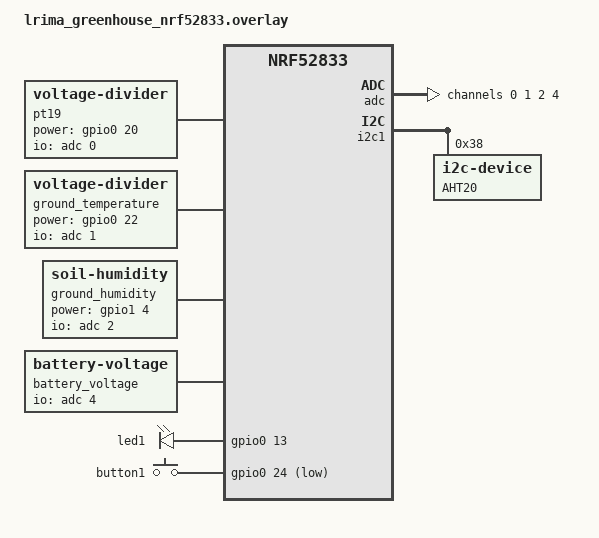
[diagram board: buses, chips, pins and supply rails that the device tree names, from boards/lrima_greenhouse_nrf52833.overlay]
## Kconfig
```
################################################################################
# Zephyr OS

source "Kconfig.zephyr"

################################################################################

config SENSOR_SLEEP_DURATION_SEC
	int "Sleep duration in seconds bettwen two measurements"
	default 300

config BLE_ADV_DURATION_SEC
	int "Advertising duration in seconds"
	default 1

config BLE_MIN_ADV_INTERVAL_MS
	int "Minimum advertising interval in milliseconds"
	default 30

config BLE_MAX_ADV_INTERVAL_MS
	int "Maximum advertising interval in milliseconds"
	default 40

config BLE_USER_DEFINED_MAC_ADDR
	string "Overrides the device's BT address"
	help
		This address has to be in this format (e.g.: f0:ca:f0:ca:01:d5).
################################################################################
# Main module

menu "Main module"

########################################
# MAIN Logging

choice MAIN_LOG_LEVEL_CHOICE
    prompt "Log level"
    depends on LOG
    default MAIN_LOG_LEVEL_INF
    help
        Message severity threshold for logging. This option controls which
        severities of messages are displayed and which ones are suppressed.
        Messages can have 4 severity levels - debug, info, warning, and error -
        in that order of increasing severity. Messages below the configured
        severity threshold are suppressed.

config MAIN_LOG_LEVEL_OFF
    bool "Off"
    help
        Do not log messages. No messages are displayed. Messages of all severity
        levels are suppressed.

config MAIN_LOG_LEVEL_ERR
    bool "Error"
    help
        Log up to error messages. Error messages are displayed. Warning, info,
        and debug messages are suppressed.

config MAIN_LOG_LEVEL_WRN
    bool "Warning"
    help
        Log up to warning messages. Error and warning messages are displayed.
        Info and debug messages are suppressed.

config MAIN_LOG_LEVEL_INF
    bool "Info"
    help
        Log up to info messages. Error, warning, and info messages are
        displayed. Debug messages are suppressed.

config MAIN_LOG_LEVEL_DBG
    bool "Debug"
    help
        Log up to debug messages. Messages of all severity levels are displayed.
        No messages are suppressed.

endchoice

config MAIN_LOG_LEVEL
    int
    depends on LOG
    default 0 if MAIN_LOG_LEVEL_OFF
    default 1 if MAIN_LOG_LEVEL_ERR
    default 2 if MAIN_LOG_LEVEL_WRN
    default 3 if MAIN_LOG_LEVEL_INF
    default 4 if MAIN_LOG_LEVEL_DBG

endmenu

################################################################################
# AHT20 module

menu "AHT20 module"

########################################
# AHT20 Logging

choice AHT20_LOG_LEVEL_CHOICE
    prompt "Log level"
    depends on LOG
    default AHT20_LOG_LEVEL_INF
    help
        Message severity threshold for logging. This option controls which
        severities of messages are displayed and which ones are suppressed.
        Messages can have 4 severity levels - debug, info, warning, and error -
        in that order of increasing severity. Messages below the configured
        severity threshold are suppressed.

config AHT20_LOG_LEVEL_OFF
    bool "Off"
    help
        Do not log messages. No messages are displayed. Messages of all severity
        levels are suppressed.

config AHT20_LOG_LEVEL_ERR
    bool "Error"
    help
        Log up to error messages. Error messages are displayed. Warning, info,
        and debug messages are suppressed.

config AHT20_LOG_LEVEL_WRN
    bool "Warning"
    help
        Log up to warning messages. Error and warning messages are displayed.
        Info and debug messages are suppressed.

config AHT20_LOG_LEVEL_INF
    bool "Info"
    help
        Log up to info messages. Error, warning, and info messages are
        displayed. Debug messages are suppressed.

config AHT20_LOG_LEVEL_DBG
    bool "Debug"
    help
        Log up to debug messages. Messages of all severity levels are displayed.
        No messages are suppressed.

endchoice

config AHT20_LOG_LEVEL
    int
    depends on LOG
    default 0 if AHT20_LOG_LEVEL_OFF
    default 1 if AHT20_LOG_LEVEL_ERR
    default 2 if AHT20_LOG_LEVEL_WRN
    default 3 if AHT20_LOG_LEVEL_INF
    default 4 if AHT20_LOG_LEVEL_DBG

endmenu

################################################################################
# ADC module

menu "ADC module"

########################################
# ADC Logging

choice ADC_LOG_LEVEL_CHOICE
    prompt "Log level"
    depends on LOG
    default ADC_LOG_LEVEL_INF
    help
        Message severity threshold for logging. This option controls which
        severities of messages are displayed and which ones are suppressed.
        Messages can have 4 severity levels - debug, info, warning, and error -
        in that order of increasing severity. Messages below the configured
        severity threshold are suppressed.

config ADC_LOG_LEVEL_OFF
    bool "Off"
    help
        Do not log messages. No messages are displayed. Messages of all severity
        levels are suppressed.

config ADC_LOG_LEVEL_ERR
    bool "Error"
    help
        Log up to error messages. Error messages are displayed. Warning, info,
        and debug messages are suppressed.

config ADC_LOG_LEVEL_WRN
    bool "Warning"
    help
        Log up to warning messages. Error and warning messages are displayed.
        Info and debug messages are suppressed.

config ADC_LOG_LEVEL_INF
    bool "Info"
    help
        Log up to info messages. Error, warning, and info messages are
        displayed. Debug messages are suppressed.

config ADC_LOG_LEVEL_DBG
    bool "Debug"
    help
        Log up to debug messages. Messages of all severity levels are displayed.
        No messages are suppressed.

endchoice

config ADC_LOG_LEVEL
    int
    depends on LOG
    default 0 if ADC_LOG_LEVEL_OFF
    default 1 if ADC_LOG_LEVEL_ERR
    default 2 if ADC_LOG_LEVEL_WRN
    default 3 if ADC_LOG_LEVEL_INF
    default 4 if ADC_LOG_LEVEL_DBG

endmenu

################################################################################
# BLE_DRIVER module

menu "BLE_DRIVER module"

########################################
# BLE_DRIVER Logging

choice BLE_DRIVER_LOG_LEVEL_CHOICE
    prompt "Log level"
    depends on LOG
    default BLE_DRIVER_LOG_LEVEL_INF
    help
        Message severity threshold for logging. This option controls which
        severities of messages are displayed and which ones are suppressed.
        Messages can have 4 severity levels - debug, info, warning, and error -
        in that order of increasing severity. Messages below the configured
        severity threshold are suppressed.

config BLE_DRIVER_LOG_LEVEL_OFF
    bool "Off"
    help
        Do not log messages. No messages are displayed. Messages of all severity
        levels are suppressed.

config BLE_DRIVER_LOG_LEVEL_ERR
    bool "Error"
    help
        Log up to error messages. Error messages are displayed. Warning, info,
        and debug messages are suppressed.

config BLE_DRIVER_LOG_LEVEL_WRN
    bool "Warning"
    help
        Log up to warning messages. Error and warning messages are displayed.
        Info and debug messages are suppressed.

config BLE_DRIVER_LOG_LEVEL_INF
    bool "Info"
    help
        Log up to info messages. Error, warning, and info messages are
        displayed. Debug messages are suppressed.

config BLE_DRIVER_LOG_LEVEL_DBG
    bool "Debug"
    help
        Log up to debug messages. Messages of all severity levels are displayed.
        No messages are suppressed.

endchoice

config BLE_DRIVER_LOG_LEVEL
    int
    depends on LOG
    default 0 if BLE_DRIVER_LOG_LEVEL_OFF
    default 1 if BLE_DRIVER_LOG_LEVEL_ERR
    default 2 if BLE_DRIVER_LOG_LEVEL_WRN
    default 3 if BLE_DRIVER_LOG_LEVEL_INF
    default 4 if BLE_DRIVER_LOG_LEVEL_DBG

endmenu

################################################################################
```

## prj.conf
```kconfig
# Enable ADC support #
CONFIG_ADC=y
CONFIG_ADC_ASYNC=y

# Enable GPIO support #
CONFIG_GPIO=y

# Enable i2c support #
CONFIG_I2C=y

# Enable support for log
CONFIG_NEWLIB_LIBC=y # TODO : optimize this

#BLE config
CONFIG_BT=y
CONFIG_BT_EXT_ADV=y
CONFIG_BT_BROADCASTER=y
CONFIG_BT_DEVICE_NAME="LRIMa test 1" #Change this for each device

# Low power config
CONFIG_PM=y
CONFIG_PM_DEVICE=y
CONFIG_PM_DEVICE_RUNTIME=y

#Custom configs
CONFIG_SENSOR_SLEEP_DURATION_SEC=600
CONFIG_BLE_ADV_DURATION_SEC=1
CONFIG_BLE_MIN_ADV_INTERVAL_MS=30
CONFIG_BLE_MAX_ADV_INTERVAL_MS=40
CONFIG_BLE_USER_DEFINED_MAC_ADDR="f0:ca:f0:ca:01:d5" #Change this for each device 

# Enable logging support #
CONFIG_LOG=y
CONFIG_LOG_DEFAULT_LEVEL=1
CONFIG_DEBUG_OPTIMIZATIONS=y
CONFIG_LOG_PRINTK=y
CONFIG_AHT20_LOG_LEVEL_ERR=y
CONFIG_ADC_LOG_LEVEL_ERR=y
# CONFIG_BLE_DRIVER_LOG_LEVEL_ERR=y
CONFIG_BLE_DRIVER_LOG_LEVEL_INF=y
CONFIG_BT_LOG_LEVEL_OFF=y
CONFIG_BT_DEBUG_LOG=n
```

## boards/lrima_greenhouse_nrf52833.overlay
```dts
/* Mapping adc pins */
/ {

    pt19: pt19 {
        compatible = "voltage-divider";
        io-channels = <&adc 0>;
        output-ohms = < 10000 >;
        power-gpios = < &gpio0 20 GPIO_ACTIVE_HIGH>;
    };

    ground_temperature: ground_temperature {
        compatible = "voltage-divider";
        io-channels = <&adc 1>;
        output-ohms = < 10000 >;
        power-gpios = < &gpio0 22 GPIO_ACTIVE_HIGH >;
    };

    ground_humidity: ground_humidity {
        compatible = "soil-humidity";
        io-channels = <&adc 2>;
        power-gpios = < &gpio1 4 GPIO_ACTIVE_HIGH >;
        dry = < 800 0 0 >;
        wet = < 2270 0 0 >;
    };

    battery_voltage: battery_voltage {
        compatible = "battery-voltage";
        io-channels = <&adc 4>;
    };

    /* Used for the real board */
    leds{
        compatible = "gpio-leds";
        led1: led1 {
            label = "led1";
            gpios = <&gpio0 13 GPIO_ACTIVE_HIGH>;
        };
    };

    buttons {
        compatible = "gpio-keys";
        button1: button1 {
            label = "button1";
            gpios = <&gpio0 24 GPIO_ACTIVE_LOW>;
        };

        wakeup-source;
    };

    aliases {
        button1 = &button1;
        led1 = &led1;
    };
};

/* Enable adc driver */
&adc {
    status = "okay";
    #address-cells = <1>;
    #size-cells = <0>;
    // Luminoisty sensor
    channel@0 {
        reg = <0>;
        zephyr,gain = "ADC_GAIN_1_4";
        zephyr,reference = "ADC_REF_INTERNAL";
        zephyr,acquisition-time = <ADC_ACQ_TIME_DEFAULT>;
        zephyr,input-positive = < NRF_SAADC_AIN0 >; // P0.02
        zephyr,resolution = <10>;
        zephyr,oversampling = < 4 >;
    };

    // Ground temperature sensor
    channel@1 {
        reg = <1>;
        zephyr,gain = "ADC_GAIN_1_5";
        zephyr,reference = "ADC_REF_INTERNAL";
        zephyr,acquisition-time = <ADC_ACQ_TIME_DEFAULT>;
        zephyr,input-positive = < NRF_SAADC_AIN1 >; // P0.03
        zephyr,resolution = <10>;
        zephyr,oversampling = < 4 >;
    };

    // Ground humidity sensor
    channel@2 {
        reg = <2>;
        zephyr,gain = "ADC_GAIN_1_2";
        zephyr,reference = "ADC_REF_INTERNAL";
        zephyr,acquisition-time = <ADC_ACQ_TIME_DEFAULT>;
        zephyr,input-positive = < NRF_SAADC_AIN2 >; // P0.04
        zephyr,resolution = <12>;
        zephyr,oversampling = < 4 >;
    };

    // Batterie voltage monitor
    channel@4 {
        reg = <4>;
        zephyr,gain = "ADC_GAIN_1_6";
        zephyr,reference = "ADC_REF_INTERNAL";
        zephyr,acquisition-time = <ADC_ACQ_TIME_DEFAULT>;
        zephyr,input-positive = < NRF_SAADC_VDD >; // VDD
        zephyr,resolution = <10>;
        zephyr,oversampling = <0>;
    };
};

/* Enable i2c driver */
&i2c1 {
    status = "okay";

    aht20: aht20@38{
        compatible = "i2c-device";
        reg = <0x38>;
        label = "AHT20";
    };
};
```

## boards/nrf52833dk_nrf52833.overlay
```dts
/* Mapping adc pins */
/ {

    pt19: pt19 {
        compatible = "voltage-divider";
        io-channels = <&adc 0>;
        output-ohms = < 10000 >;
        power-gpios = < &gpio0 20 GPIO_ACTIVE_HIGH>;
    };

    ground_temperature: ground_temperature {
        compatible = "voltage-divider";
        io-channels = <&adc 1>;
        output-ohms = < 10000 >;
        power-gpios = < &gpio0 22 GPIO_ACTIVE_HIGH >;
    };

    ground_humidity: ground_humidity {
        compatible = "soil-humidity";
        io-channels = <&adc 2>;
        power-gpios = < &gpio1 4 GPIO_ACTIVE_HIGH >;
        dry = < 800 0 0 >;
        wet = < 2270 0 0 >;
    };

    battery_voltage: battery_voltage {
        compatible = "battery-voltage";
        io-channels = <&adc 4>;
    };

    /* Used for the real board */
    // leds{
    //     compatible = "gpio-leds";
    //     led1: led1 {
    //         label = "led1";
    //         gpios = <&gpio0 13 GPIO_ACTIVE_HIGH>;
    //     };
    // };

    // buttons {
    //     compatible = "gpio-keys";
    //     button1: button1 {
    //         label = "button1";
    //         gpios = <&gpio0 24 GPIO_ACTIVE_LOW>;
    //     };
    // };

    // aliases {
    //     button1 = &button1;
    //     led1 = &led1;
    // };
};

/* Enable adc driver */
&adc {
    status = "okay";
    #address-cells = <1>;
    #size-cells = <0>;
    // Luminoisty sensor
    channel@0 {
        reg = <0>;
        zephyr,gain = "ADC_GAIN_1_4";
        zephyr,reference = "ADC_REF_INTERNAL";
        zephyr,acquisition-time = <ADC_ACQ_TIME_DEFAULT>;
        zephyr,input-positive = < NRF_SAADC_AIN0 >; // P0.02
        zephyr,resolution = <10>;
        zephyr,oversampling = < 4 >;
    };

    // Ground temperature sensor
    channel@1 {
        reg = <1>;
        zephyr,gain = "ADC_GAIN_1_5";
        zephyr,reference = "ADC_REF_INTERNAL";
        zephyr,acquisition-time = <ADC_ACQ_TIME_DEFAULT>;
        zephyr,input-positive = < NRF_SAADC_AIN1 >; // P0.03
        zephyr,resolution = <10>;
        zephyr,oversampling = < 4 >;
    };

    // Ground humidity sensor
    channel@2 {
        reg = <2>;
        zephyr,gain = "ADC_GAIN_1_2";
        zephyr,reference = "ADC_REF_INTERNAL";
        zephyr,acquisition-time = <ADC_ACQ_TIME_DEFAULT>;
        zephyr,input-positive = < NRF_SAADC_AIN2 >; // P0.04
        zephyr,resolution = <12>;
        zephyr,oversampling = < 4 >;
    };

    // Batterie voltage monitor
    channel@4 {
        reg = <4>;
        zephyr,gain = "ADC_GAIN_1_6";
        zephyr,reference = "ADC_REF_INTERNAL";
        zephyr,acquisition-time = <ADC_ACQ_TIME_DEFAULT>;
        zephyr,input-positive = < NRF_SAADC_VDD >; // VDD
        zephyr,resolution = <10>;
        zephyr,oversampling = <0>;
    };
};

/* Enable i2c driver */
&i2c1 {
    status = "okay";

    aht20: aht20@38{
        compatible = "i2c-device";
        reg = <0x38>;
        label = "AHT20";
    };
};

/* Deactivating some stuff */

&spi1 {
    status = "disabled";
};

&spi3 {
    status = "disabled";
};
```

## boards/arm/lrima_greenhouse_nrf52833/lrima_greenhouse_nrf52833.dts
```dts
// Copyright (c) 2023 Nordic Semiconductor ASA
// SPDX-License-Identifier: Apache-2.0

/dts-v1/;
#include <nordic/nrf52833_qiaa.dtsi>
#include "lrima_greenhouse_nrf52833-pinctrl.dtsi"

/ {
	model = "LRIMa_greenhouse_nrf52833";
	compatible = "lrima,lrima-greenhouse-nrf52833";

	chosen {
		zephyr,sram = &sram0;
		zephyr,flash = &flash0;
		zephyr,code-partition = &slot0_partition;
		zephyr,console = &uart0;
		zephyr,shell-uart = &uart0;
	};
};

&flash0 {
	partitions {
		compatible = "fixed-partitions";
		#address-cells = <1>;
		#size-cells = <1>;

		boot_partition: partition@0 {
			label = "mcuboot";
			reg = <0x0 0xc000>;
		};
		slot0_partition: partition@c000 {
			label = "image-0";
			reg = <0xc000 0x32000>;
		};
		slot1_partition: partition@3e000 {
			label = "image-1";
			reg = <0x3e000 0x32000>;
		};
		scratch_partition: partition@70000 {
			label = "image-scratch";
			reg = <0x70000 0xa000>;
		};
		storage_partition: partition@7a000 {
			label = "storage";
			reg = <0x7a000 0x6000>;
		};
	};
};

&uart0 {
	compatible = "nordic,nrf-uarte";
	status = "okay";
	current-speed = <115200>;
	pinctrl-0 = <&uart0_default>;
	pinctrl-1 = <&uart0_sleep>;
	pinctrl-names = "default", "sleep";
};

&adc {
	status = "okay";
};

&i2c1 {
	compatible = "nordic,nrf-twi";
	/* Cannot be used together with spi1. */
	pinctrl-0 = <&i2c1_default>;
	pinctrl-1 = <&i2c1_sleep>;
	pinctrl-names = "default", "sleep";
	status = "okay";
};

&gpio0 {
	status = "okay";
	// For low-power EDGE interrupts.
	// See github.com/zephyrproject-rtos/zephyr/issues/28499.
	sense-edge-mask = <0xffffffff>;
};

&gpio1 {
    status = "okay";
};
```

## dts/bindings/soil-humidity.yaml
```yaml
description: >
  Soil humidity sensor definition. 
  Taking the adc pin and the drys and wet values. acording to the current batterie voltage
    io-channels: Adc pin of the sensor
    dry: Value of the sensor when is dry
    wet: Value of the sensor when is wet

compatible: soil-humidity

include: base.yaml

properties:
  io-channels:
    required: true
    description: Channels of the adc pin of the sensor
  power-gpios:
      type: phandle-array
      description: |
        Control power to the sensor inputs.

        If present the corresponding GPIO must be set to an active level
        to enable the divider input.
  dry:
    type: array
    required: true
    description: The value of the sensor when is dry
  wet:
    type: array
    required: true
    description: The value of the sensor when is wet
```

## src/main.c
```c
/* main.c - Application main entry point */

/*
 * Copyright (c) 2015-2016 Intel Corporation
 *
 * SPDX-License-Identifier: Apache-2.0
 */

#include <zephyr/kernel.h>
#include <zephyr/logging/log.h>
#include "drivers/adc.h"
#include "drivers/aht20.h"
#include "drivers/ble.h"
#include "utils.h"

LOG_MODULE_REGISTER(MAIN, CONFIG_MAIN_LOG_LEVEL);

sensors_data_t sensors_data = {
	.temp = 0,
	.hum = 0,
	.lum = 0,
	.gnd_temp = 0,
	.gnd_hum = 0,
	.bat = 0
};

bool first_run = true;

/**
 * @brief Read the sensors data
 */
static void read(void) {
		// Read the temperature and humidity
		RET_IF_ERR(aht20_read(&sensors_data.temp, &sensors_data.hum), "Unable to read temperature and humidity");
		// Read the luminosity
		RET_IF_ERR(luminosity_read(&sensors_data.lum), "Unable to read luminosity");
		// Read the ground temperature
		RET_IF_ERR(ground_temperature_read(&sensors_data.gnd_temp), "Unable to read ground temperature");
		// Read the ground humidity
		RET_IF_ERR(ground_humidity_read(&sensors_data.gnd_hum), "Unable to read ground humidity");
		// Read the battery level
		RET_IF_ERR(battery_voltage_read(&sensors_data.bat), "Unable to read battery level");
}

/**
 * @brief Send the sensors data
 */
static void send(void) {
	// Encode the data into the service data
	RET_IF_ERR(ble_encode_adv_data(&sensors_data), "Unable to encode data");

	// Advertise the data
	RET_IF_ERR(ble_adv(), "Unable to advertise data");
}

/**
 * @brief Main function
 */
void main(void) {
	LOG_INF("Starting application");

	// Initialize the ADC driver
	RET_IF_ERR(adc_init(), "Unable to initialize ADC");
	// Initialize the AHT20 driver
	RET_IF_ERR(aht20_init(), "Unable to initialize AHT20");
	// Initialize the BLE driver
	RET_IF_ERR(ble_init(), "Unable to initialize BLE");

	while(true) {
		// Read the sensors data
		read();

		if(first_run) {
			// Re read the sensors data to avoid sending wrong data
			read();
			first_run = false;
		}

		// Send the sensors data
		send();

		// Wait
		k_sleep(K_SECONDS(CONFIG_SENSOR_SLEEP_DURATION_SEC));
	}
}
```

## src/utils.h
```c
/**
 * utils.h
 * 
 * Utility functions
 * 
 * Author: Nils Lahaye 2023
 * 
*/

#ifndef UTILS_H_
#define UTILS_H_

#include <math.h>
#include <stdint.h>

#define TO_STRING(x) #x
#define LOCATION __FILE__ ":" TO_STRING(__LINE__)

#define RET_IF_ERR(expr, msg)                                             \
    {                                                                                         \
        int ret = (expr);                                                              \
        if(ret) {                                                                            \
            LOG_ERR("Error %d: " msg " in " LOCATION, ret);      \
        }                                                                                       \
    }

typedef struct {
	float temp;
	float hum;
	float lum;
	float gnd_temp;
	float gnd_hum;
	float bat;
} sensors_data_t;

float mapRange(float value, float inMin, float inMax, float outMin, float outMax);

float evaluate_polynomial(float x, const int coefficients[3]);

int floatSeparator(float *val, uint8_t *whole, uint8_t *decimal);

#endif /* UTILS_H_ */
```
